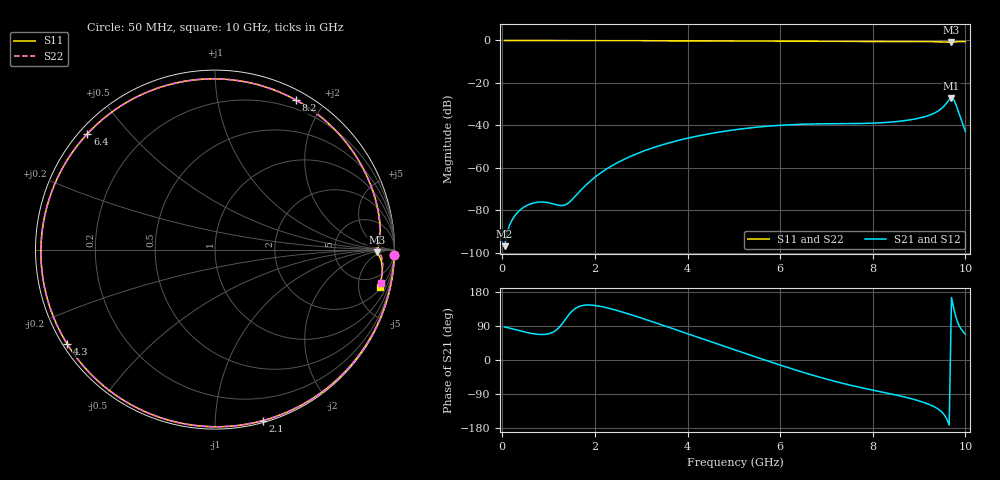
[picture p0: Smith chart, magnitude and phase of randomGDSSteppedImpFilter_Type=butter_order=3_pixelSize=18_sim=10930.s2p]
! freq	dB(S11)	phase(S11)	dB(S12)	phase(S12)
!  dB(S21)	phase(S21)	dB(S22)	phase(S22)
!S-par simulation data
#  GHz  S  DB  R 50
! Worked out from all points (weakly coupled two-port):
!   200 points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, 50 MHz to 10 GHz, reference 50 ohm
!   highest |S21| = -27.13 dB at 9.7 GHz (marker M1); lowest = -96.9 dB at 50 MHz (marker M2)
!   lowest |S11| = -0.9 dB at 9.7 GHz (marker M3), VSWR 19.31, Z = 943 - j147 ohm
!   |S11| at or under -10 dB: nowhere
!   |S22| runs from -0.9 to 0.0 dB; largest |S21 - S12| = 0
!   S11 on the Smith chart (normalised r, x): 50 MHz: 1, -62; 2.1 GHz: 0.01, -1.32; 4.3 GHz: 0.01, -0.29; 6.4 GHz: 0.02, +0.39; 8.2 GHz: 0.10, +1.67; 10 GHz: 2.29, -8.33
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0.05  -0.01 -1.9  -96.88 87.0  -96.88 87.0  -0.01 -1.9
0.35  -0.02 -12.8  -80.53 77.8  -80.53 77.8  -0.02 -12.8
0.8  -0.03 -29.0  -76.12 67.5  -76.12 67.5  -0.03 -29.0
1.35  -0.06 -48.5  -77.48 105.1  -77.48 105.1  -0.06 -48.5
1.75  -0.08 -62.5  -69.30 144.2  -69.30 144.2  -0.08 -62.4
2.1  -0.09 -74.5  -62.77 142.0  -62.77 142.0  -0.09 -74.4
2.65  -0.12 -93.0  -55.77 124.4  -55.77 124.4  -0.12 -92.9
3.4  -0.15 -117.8  -49.52 94.5  -49.52 94.5  -0.15 -117.6
4.3  -0.20 -147.4  -44.65 56.8  -44.65 56.8  -0.20 -147.1
5.05  -0.25 -172.8  -41.97 25.5  -41.97 25.5  -0.25 -172.3
5.75  -0.30 162.4  -40.35 -3.3  -40.35 -3.3  -0.30 163.0
6.4  -0.35 137.7  -39.52 -28.9  -39.52 -28.9  -0.35 138.5
6.7  -0.38 125.8  -39.33 -40.0  -39.33 -40.0  -0.37 126.7
7.45  -0.43 94.4  -39.17 -64.5  -39.17 -64.5  -0.42 95.5
8.2  -0.47 61.5  -38.74 -84.5  -38.74 -84.5  -0.47 62.9
8.35  -0.48 54.9  -38.52 -88.4  -38.52 -88.4  -0.48 56.3
8.8  -0.51 35.2  -37.41 -101.1  -37.41 -101.1  -0.51 36.6
9.25  -0.57 15.9  -34.99 -118.9  -34.99 -118.9  -0.57 17.3
9.45  -0.64 7.5  -32.62 -132.9  -32.62 -132.9  -0.64 8.9
9.7  -0.90 -0.9  -27.13 164.6  -27.13 164.6  -0.90 0.5
9.8  -0.64 -3.9  -30.39 111.2  -30.39 111.2  -0.64 -2.5
10  -0.53 -12.7  -42.89 67.9  -42.89 67.9  -0.53 -11.4
